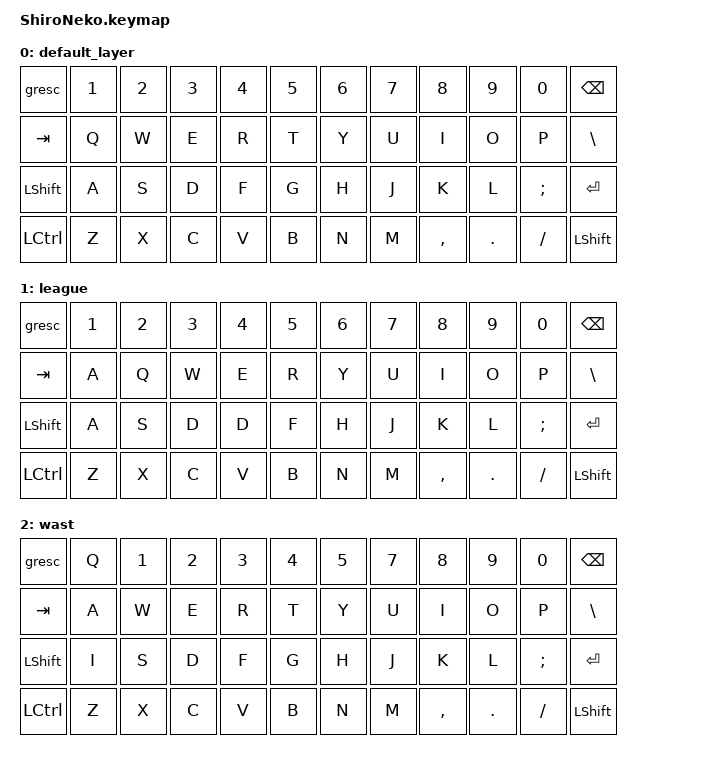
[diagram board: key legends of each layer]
#include <dt-bindings/zmk/keys.h>
#include <behaviors.dtsi>
/ {
    keymap {
        compatible = "zmk,keymap";

        default_layer { // Layer 0
            // -------------------------------------
            // |     Z     |     M     |     K     |
            // |     A     |     B     |     C     |
            // |     D     |     E     |     F     |
            bindings = <
                &gresc      &kp N1   &kp N2   &kp N3   &kp N4   &kp N5  &kp N6  &kp N7  &kp N8      &kp N9  &kp N0      &kp BACKSPACE
                &kp TAB     &kp Q    &kp W    &kp E    &kp R    &kp T   &kp Y   &kp U   &kp I       &kp O   &kp P       &kp BACKSLASH
                &kp LSHFT   &kp A    &kp S    &kp D    &kp F    &kp G   &kp H   &kp J   &kp K       &kp L   &kp SEMI    &kp ENTER
                &kp LCTRL   &kp Z    &kp X    &kp C    &kp V    &kp B   &kp N   &kp M   &kp COMMA   &kp DOT &kp SLASH   &kp LSHFT  
            >;
        };
        league { // Layer 0
            // -------------------------------------
            // |     Z     |     M     |     K     |
            // |     A     |     B     |     C     |
            // |     D     |     E     |     F     |
            bindings = <
                &gresc      &kp N1   &kp N2   &kp N3   &kp N4   &kp N5  &kp N6  &kp N7  &kp N8      &kp N9  &kp N0      &kp BACKSPACE
                &kp TAB     &kp A    &kp Q    &kp W    &kp E    &kp R   &kp Y   &kp U   &kp I       &kp O   &kp P       &kp BACKSLASH
                &kp LSHFT   &kp A    &kp S    &kp D    &kp D    &kp F   &kp H   &kp J   &kp K       &kp L   &kp SEMI    &kp ENTER
                &kp LCTRL   &kp Z    &kp X    &kp C    &kp V    &kp B   &kp N   &kp M   &kp COMMA   &kp DOT &kp SLASH   &kp LSHFT  
            >;
        };
        wast { // Layer 0
            // -------------------------------------
            // |     Z     |     M     |     K     |
            // |     A     |     B     |     C     |
            // |     D     |     E     |     F     |
            bindings = <
                &gresc      &kp Q    &kp N1   &kp N2   &kp N3   &kp N4  &kp N5  &kp N7  &kp N8      &kp N9  &kp N0      &kp BACKSPACE
                &kp TAB     &kp A    &kp W    &kp E    &kp R    &kp T   &kp Y   &kp U   &kp I       &kp O   &kp P       &kp BACKSLASH
                &kp LSHFT   &kp I    &kp S    &kp D    &kp F    &kp G   &kp H   &kp J   &kp K       &kp L   &kp SEMI    &kp ENTER
                &kp LCTRL   &kp Z    &kp X    &kp C    &kp V    &kp B   &kp N   &kp M   &kp COMMA   &kp DOT &kp SLASH   &kp LSHFT  
            >;
        };
    };
 };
